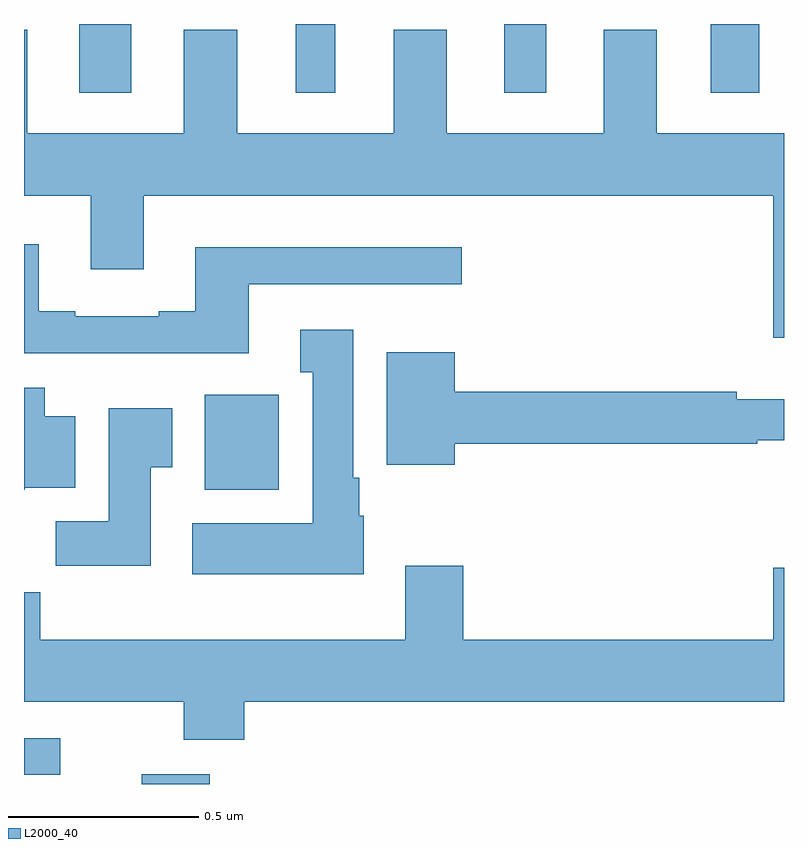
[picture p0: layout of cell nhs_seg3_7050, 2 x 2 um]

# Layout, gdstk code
import gdstk
lib = gdstk.Library(unit=1e-6, precision=1e-09)
def R(c, l, rs):  # rectangles x0, y0, x1, y1
    for r in rs: c.add(gdstk.rectangle(r[:2], r[2:], *l))
def P(c, l, *ps):  # polygons
    for p in ps: c.add(gdstk.Polygon(p, *l))
L2000_40 = (2000, 40)

nhs_seg3_7050 = lib.new_cell('nhs_seg3_7050')
R(nhs_seg3_7050, L2000_40, [(199.31,667.4,199.489,667.426), (199,667.425,199.096,667.521), (199.475,668.174,199.671,668.425), (199.145,669.219,199.282,669.4), (199.715,669.219,199.819,669.4), (200.264,669.219,200.374,669.4), (200.807,669.219,200.935,669.4)])
P(nhs_seg3_7050, L2000_40, [(201,669.112),(200.665,669.112),(200.665,669.385),(200.525,669.385),(200.525,669.112),(200.113,669.112),(200.113,669.385),(199.973,669.385),(199.973,669.112),(199.561,669.112),(199.561,669.385),(199.421,669.385),(199.421,669.112),(199.009,669.112),(199.009,669.385),(199,669.385),(199,668.948),(199.175,668.948),(199.175,668.754),(199.315,668.754),(199.315,668.948),(200.972,668.948),(200.972,668.574),(201,668.574)],
  [(199.591,668.715),(200.152,668.715),(200.152,668.812),(199.451,668.812),(199.451,668.644),(199.355,668.644),(199.355,668.631),(199.135,668.631),(199.135,668.644),(199.039,668.644),(199.039,668.821),(199,668.821),(199,668.534),(199.591,668.534)],
  [(199.894,668.106),(199.882,668.106),(199.882,668.206),(199.867,668.206),(199.867,668.596),(199.727,668.596),(199.727,668.483),(199.76,668.483),(199.76,668.086),(199.443,668.086),(199.443,667.952),(199.894,667.952)],
  [(200.134,668.296),(200.93,668.296),(200.93,668.304),(201,668.304),(201,668.413),(200.876,668.413),(200.876,668.432),(200.134,668.432),(200.134,668.536),(199.955,668.536),(199.955,668.24),(200.134,668.24)],
  [(199.002,668.18),(199.135,668.18),(199.135,668.368),(199.054,668.368),(199.054,668.443),(199,668.443),(199,668.174),(199.002,668.174)],
  [(199.333,668.233),(199.39,668.233),(199.39,668.389),(199.223,668.389),(199.223,668.092),(199.084,668.092),(199.084,667.974),(199.333,667.974)],
  [(199.58,667.616),(201,667.616),(201,667.969),(200.972,667.969),(200.972,667.78),(200.156,667.78),(200.156,667.975),(200.003,667.975),(200.003,667.78),(199.043,667.78),(199.043,667.904),(199,667.904),(199,667.616),(199.42,667.616),(199.42,667.517),(199.58,667.517)])

lib.write_gds('nhs_seg3_7050.gds')
